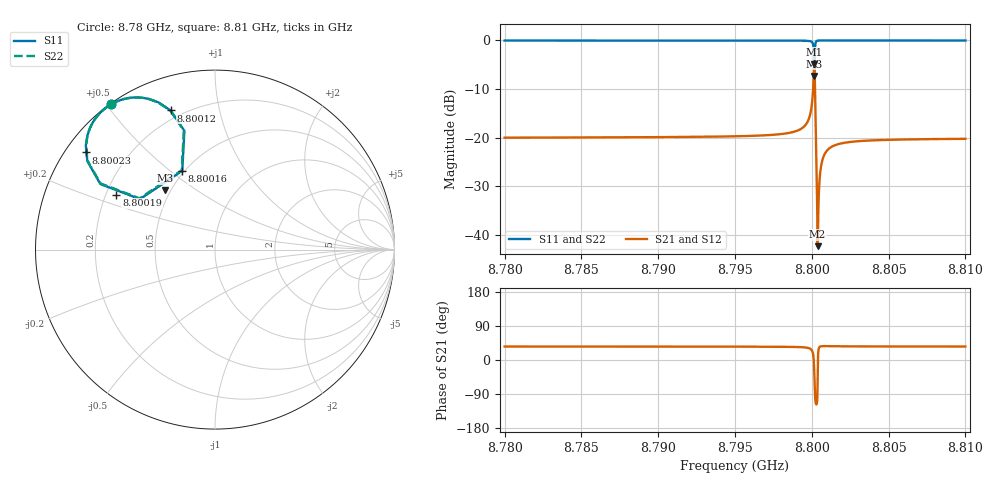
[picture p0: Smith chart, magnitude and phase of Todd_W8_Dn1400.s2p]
! Sonnet Data File
! From: emgraph Version : 16.52
! From Project: transmon_brgOdd
! Data is De-embedded
! Data File Written: 11/12/2017 17:05:32
!< HDATE 11/11/2017 22:57:51
!< MDATE 11/11/2017 22:57:51
!< PARAMS
!< Lj = 15.24
!< Gap = 6.0
!< Width = 10.0
!< Airgap = 6.0
!< Pwidth = 2000.0
!< Dist = 1400.0
!< END PARAMS
# GHZ S MA R 34.67000
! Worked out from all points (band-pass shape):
!   3001 points, 8.78 GHz to 8.81 GHz, reference 34.67 ohm
!   highest |S21| = -4.91 dB at 8.80016 GHz (marker M1); lowest = -42.3 dB at 8.80038 GHz (marker M2)
!   |S21| within 3 dB of the highest: 8.800118 GHz to 8.800198 GHz (80.13 kHz wide, 0.000911 % of centre)
!   lowest |S11| = -7.3 dB at 8.80017 GHz (marker M3), VSWR 2.51, Z = 16.2 + j13.1 ohm
!   |S11| at or under -10 dB: nowhere
!   |S22| runs from -7.2 to 0.0 dB; largest |S21 - S12| = 0
!   S11 on the Smith chart (normalised r, x): 8.78 GHz: 0.00, +0.51; 8.80012 GHz: 0.16, +0.72; 8.80016 GHz: 0.49, +0.55; 8.80019 GHz: 0.24, +0.24; 8.80023 GHz: 0.06, +0.33; 8.81 GHz: 0.00, +0.51
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8.78  0.995 125.6  0.09982 35.5  0.09982 35.5  0.995 125.5
!< P1 F=8.78 Eeff=(5.13743391 -5.7017e-5) Z0=(34.6430374 -9.7216e-5) R=0.0 C=0.0
!< P2 F=8.78 Eeff=(5.13743391 -5.7017e-5) Z0=(34.6430374 -9.7216e-5) R=0.0 C=0.0
8.785  0.995 125.5  0.1002 35.5  0.1002 35.5  0.995 125.5
8.79  0.9949 125.4  0.101 35.4  0.101 35.4  0.9949 125.4
8.795  0.9947 125.3  0.103 35.3  0.103 35.3  0.9947 125.3
8.79915  0.9925 124.3  0.1194 34.2  0.1194 34.2  0.9925 124.3
8.79974  0.9873 122.7  0.147 32.0  0.147 32.0  0.9873 122.7
8.7999  0.98 121.1  0.1745 29.6  0.1745 29.6  0.9801 121.1
8.8  0.9649 118.7  0.2162 25.7  0.2162 25.7  0.965 118.7
8.80006  0.9361 115.4  0.2723 19.9  0.2723 19.9  0.9364 115.5
8.80012  0.8135 107.7  0.4106 3.1  0.4106 3.1  0.8143 107.8
8.80016  0.4755 112.5  0.5679 -33.4  0.5679 -33.4  0.4792 112.8
8.80017  0.431 130.2  0.5669 -48.1  0.5669 -48.1  0.4354 130.1
8.80019  0.6279 151.0  0.4597 -76.3  0.4597 -76.3  0.6303 150.7
8.80023  0.9004 143.0  0.2185 -106.1  0.2185 -106.1  0.901 142.8
8.8003  0.9788 134.6  0.06206 -117.3  0.06206 -117.3  0.979 134.5
8.80038  0.9923 131.2  0.007638 -52.6  0.007638 -52.6  0.9924 131.2
8.80048  0.996 129.4  0.03155 32.9  0.03155 32.9  0.996 129.3
8.8006  0.9969 128.3  0.05026 36.2  0.05026 36.2  0.9969 128.3
8.80072  0.997 127.7  0.0609 36.6  0.0609 36.6  0.997 127.7
8.80128  0.9965 126.6  0.08019 36.4  0.08019 36.4  0.9965 126.5
8.805  0.9955 125.7  0.09479 35.7  0.09479 35.7  0.9955 125.7
8.81  0.9953 125.6  0.09706 35.5  0.09706 35.5  0.9953 125.5
